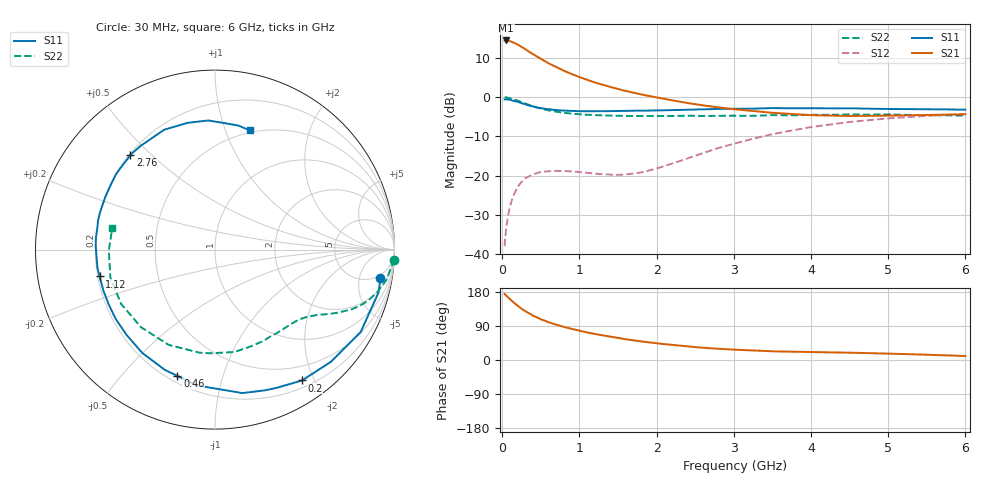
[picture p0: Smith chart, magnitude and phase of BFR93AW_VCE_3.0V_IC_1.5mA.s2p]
! Infineon Technologies  Discrete & RF Semiconductors
! BFR93AW
! VCE =  3.0 V,  IC =  1.5 mA
! Common Emitter S-Parameters:  Nov 2015
# GHz  S  MA  R  50
!  f  S11  S21  S12  S22
! GHz  MAG  ANG  MAG  ANG  MAG  ANG  MAG  ANG
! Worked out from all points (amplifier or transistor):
!   206 points, 30 MHz to 6 GHz, reference 50 ohm
!   highest |S21| = 14.4 dB at 50 MHz (marker M1)
!   |S21| within 3 dB of that: start of sweep to 358.5 MHz
!   unconditionally stable (mu >= 1): 1.297 GHz to 2.426 GHz; 5.557 GHz to end of sweep
!   at 200 MHz: K = 0.14, MSG = 18.1 dB, |S12| = -22.8 dB
!   at 1.56 GHz: K = 1.17, MAG = 8.2 dB, |S12| = -19.7 dB
!   at 6 GHz: K = 1.01, MAG = -0.7 dB, |S12| = -4.3 dB
!   S11 on the Smith chart (normalised r, x): 30 MHz: 4, -10; 200 MHz: 0.29, -1.83; 460 MHz: 0.23, -0.72; 1.12 GHz: 0.21, -0.11; 2.76 GHz: 0.21, +0.43; 6 GHz: 0.48, +1.22
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0.03  0.936 -9.9  5.245 174.2  0.0127 82.9  1 -3.2
0.05  0.9417 -14.8  5.255 170.0  0.0212 81.6  0.9889 -5.2
0.1  0.9326 -29.5  5.157 160.6  0.0407 73.4  0.9698 -10.1
0.15  0.8987 -44.1  4.928 151.1  0.0576 65.6  0.9365 -14.5
0.2  0.8754 -56.4  4.651 142.9  0.0723 59.4  0.9011 -18.3
0.24  0.8438 -65.8  4.407 136.7  0.0814 54.3  0.8698 -20.8
0.3  0.8137 -79.2  4.063 128.4  0.0931 48.6  0.8263 -23.9
0.4  0.7635 -97.7  3.51 116.8  0.1046 40.6  0.7621 -27.6
0.46  0.7346 -106.6  3.237 111.5  0.1087 37.1  0.7321 -29.3
0.5  0.7257 -112.8  3.072 107.4  0.1116 35.0  0.7125 -30.4
0.6  0.7038 -125.2  2.692 99.6  0.114 31.1  0.6775 -32.5
0.7  0.685 -135.8  2.407 93.1  0.1153 28.5  0.652 -34.6
0.82  0.6722 -146.5  2.12 86.1  0.1145 26.9  0.6271 -37.2
1.04  0.6608 -162.0  1.738 75.4  0.1102 27.0  0.6014 -41.7
1.12  0.6604 -166.9  1.631 71.9  0.1082 27.8  0.5946 -43.7
1.5  0.6669 174.4  1.266 58.0  0.1024 38.6  0.5798 -53.1
2.02  0.6779 154.4  0.981 43.5  0.1252 60.0  0.5753 -68.2
2.76  0.7058 131.9  0.75 30.1  0.2189 70.3  0.5774 -91.4
3.1  0.7112 123.0  0.687 26.5  0.2714 68.2  0.5783 -101.9
4.1  0.7206 100.3  0.586 20.6  0.4283 54.5  0.5948 -136.9
5.1  0.7053 84.3  0.583 16.3  0.5437 37.9  0.5979 -167.9
6  0.6918 73.7  0.606 10.5  0.6114 24.9  0.5852 168.0
